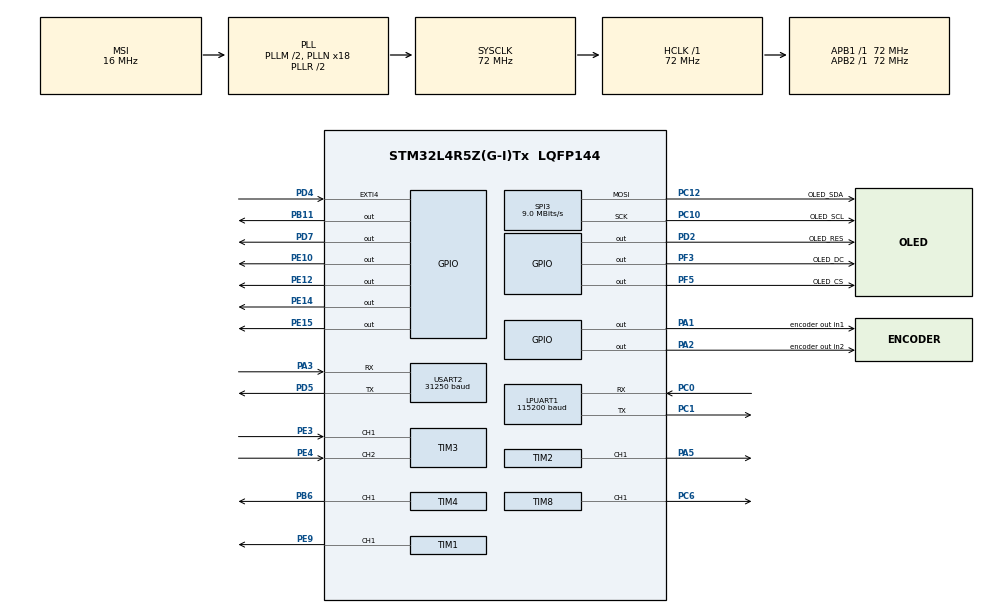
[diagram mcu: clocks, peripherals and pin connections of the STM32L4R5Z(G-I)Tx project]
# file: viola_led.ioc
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Dma.Request0=TIM1_CH1
Dma.TIM1_CH1.0.Direction=DMA_MEMORY_TO_PERIPH
Dma.TIM1_CH1.0.EventEnable=DISABLE
Dma.TIM1_CH1.0.Instance=DMA1_Channel1
Dma.TIM1_CH1.0.MemDataAlignment=DMA_MDATAALIGN_HALFWORD
Dma.TIM1_CH1.0.MemInc=DMA_MINC_ENABLE
Dma.TIM1_CH1.0.Mode=DMA_NORMAL
Dma.TIM1_CH1.0.PeriphDataAlignment=DMA_PDATAALIGN_HALFWORD
Dma.TIM1_CH1.0.PeriphInc=DMA_PINC_DISABLE
Dma.TIM1_CH1.0.Polarity=HAL_DMAMUX_REQUEST_GEN_RISING
Dma.TIM1_CH1.0.Priority=DMA_PRIORITY_LOW
Dma.TIM1_CH1.0.RequestNumber=1
Dma.TIM1_CH1.0.SignalID=NONE
Dma.TIM1_CH1.0.SyncEnable=DISABLE
Dma.TIM1_CH1.0.SyncPolarity=HAL_DMAMUX_SYNC_NO_EVENT
Dma.TIM1_CH1.0.SyncRequestNumber=1
Dma.TIM1_CH1.0.SyncSignalID=NONE
LPUART1.BaudRate=115200
LPUART1.WordLength=UART_WORDLENGTH_8B
Mcu.Family=STM32L4
Mcu.Name=STM32L4R5Z(G-I)Tx
Mcu.Package=LQFP144
NVIC.DMA1_Channel1_IRQn=true\:0\:0\:false\:false\:true\:false\:true\:true
NVIC.EXTI4_IRQn=true\:0\:0\:false\:false\:true\:true\:true\:true
NVIC.PriorityGroup=NVIC_PRIORITYGROUP_4
NVIC.TIM1_UP_TIM16_IRQn=true\:0\:0\:false\:false\:true\:true\:true\:true
NVIC.TIM3_IRQn=true\:0\:0\:false\:false\:true\:true\:true\:true
NVIC.TIM4_IRQn=true\:0\:0\:false\:false\:true\:true\:true\:true
NVIC.TIM8_UP_IRQn=true\:0\:0\:false\:false\:true\:true\:true\:true
NVIC.USART2_IRQn=true\:0\:0\:false\:false\:true\:true\:true\:true
PA1.GPIO_Label=encoder out in1
PA1.Signal=GPIO_Output
PA2.GPIO_Label=encoder out in2
PA2.Signal=GPIO_Output
PA3.Mode=Asynchronous
PA3.Signal=USART2_RX
PA5.Signal=S_TIM2_CH1
PB11.Signal=GPIO_Output
PB6.Signal=S_TIM4_CH1
PC0.Mode=Asynchronous
PC0.Signal=LPUART1_RX
PC1.Mode=Asynchronous
PC1.Signal=LPUART1_TX
PC10.GPIO_Label=OLED_SCL
PC10.Mode=TX_Only_Simplex_Unidirect_Master
PC10.Signal=SPI3_SCK
PC12.GPIO_Label=OLED_SDA
PC12.Mode=TX_Only_Simplex_Unidirect_Master
PC12.Signal=SPI3_MOSI
PC6.Signal=S_TIM8_CH1
PD2.GPIO_Label=OLED_RES
PD2.Signal=GPIO_Output
PD4.Signal=GPXTI4
PD5.Mode=Asynchronous
PD5.Signal=USART2_TX
PD7.Signal=GPIO_Output
PE10.Signal=GPIO_Output
PE12.Signal=GPIO_Output
PE14.Signal=GPIO_Output
PE15.Signal=GPIO_Output
PE3.Signal=S_TIM3_CH1
PE4.Signal=S_TIM3_CH2
PE9.Signal=S_TIM1_CH1
PF3.GPIO_Label=OLED_DC
PF3.Signal=GPIO_Output
PF5.GPIO_Label=OLED_CS
PF5.Signal=GPIO_Output
PH0-OSC_IN\ (PH0).Mode=HSE-External-Clock-Source
PH0-OSC_IN\ (PH0).Signal=RCC_OSC_IN
ProjectManager.HeapSize=0x200
ProjectManager.StackSize=0x400
ProjectManager.TargetToolchain=STM32CubeIDE
RCC.ADCFreq_Value=64000000
RCC.AHBFreq_Value=72000000
RCC.APB1Freq_Value=72000000
RCC.APB1TimFreq_Value=72000000
RCC.APB2Freq_Value=72000000
RCC.APB2TimFreq_Value=72000000
RCC.CortexFreq_Value=72000000
RCC.HCLKFreq_Value=72000000
RCC.HSE_VALUE=8000000
RCC.HSI48_VALUE=48000000
RCC.HSI_VALUE=16000000
RCC.LSE_VALUE=32768
RCC.MSIClockRange=RCC_MSIRANGE_8
RCC.MSI_VALUE=16000000
RCC.PLLM1=2
RCC.PLLN=18
RCC.SYSCLKFreq_VALUE=72000000
RCC.SYSCLKSource=RCC_SYSCLKSOURCE_PLLCLK
RCC.USBFreq_Value=64000000
RCC.VCOOutputFreq_Value=144000000
SH.S_TIM1_CH1.0=TIM1_CH1,PWM Generation1 CH1
SH.S_TIM2_CH1.0=TIM2_CH1,PWM Generation1 CH1
SH.S_TIM3_CH1.0=TIM3_CH1,Encoder_Interface
SH.S_TIM3_CH2.0=TIM3_CH2,Encoder_Interface
SH.S_TIM4_CH1.0=TIM4_CH1,PWM Generation1 CH1
SH.S_TIM8_CH1.0=TIM8_CH1,PWM Generation1 CH1
SPI3.BaudRatePrescaler=SPI_BAUDRATEPRESCALER_8
SPI3.CalculateBaudRate=9.0 MBits/s
SPI3.DataSize=SPI_DATASIZE_8BIT
SPI3.Direction=SPI_DIRECTION_2LINES
SPI3.Mode=SPI_MODE_MASTER
SPI3.VirtualType=VM_MASTER
TIM1.Channel-PWM\ Generation1\ CH1=TIM_CHANNEL_1
TIM1.Period=89
TIM1.Prescaler=0
TIM2.Channel-Forced\ Output1\ CH1=TIM_CHANNEL_1
TIM2.Channel-PWM\ Generation1\ CH1=TIM_CHANNEL_1
TIM2.Channel-PWM\ Generation1\ No\ Output=TIM_CHANNEL_1
TIM2.Period=65535
TIM3.EncoderMode=TIM_ENCODERMODE_TI12
TIM3.IC1Filter=5
TIM3.IC2Filter=5
TIM4.Channel-PWM\ Generation1\ CH1=TIM_CHANNEL_1
TIM4.Period=1999
TIM4.Prescaler=71
TIM4.Pulse-PWM\ Generation1\ CH1=999
TIM4.TIM_MasterOutputTrigger=TIM_TRGO_UPDATE
TIM8.Channel-PWM\ Generation1\ CH1=TIM_CHANNEL_1
TIM8.Period=1999
TIM8.Prescaler=71
TIM8.TIM_MasterOutputTrigger=TIM_TRGO_RESET
USART2.BaudRate=31250
USART2.VirtualMode-Asynchronous=VM_ASYNC
VP_TIM1_VS_ClockSourceINT.Mode=Internal
VP_TIM4_VS_ClockSourceINT.Mode=Internal
VP_TIM8_VS_ClockSourceITR.Mode=TriggerSource_ITR2
VP_TIM8_VS_ControllerModeTrigger.Mode=Trigger Mode
board=custom

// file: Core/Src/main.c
/* USER CODE BEGIN Header */

/**

  ******************************************************************************
  * @file           : main.c
  * @brief          : Main program body
  ******************************************************************************
  * @attention
  *
  * Copyright (c) 2026 STMicroelectronics.
  * All rights reserved.
  *
  * This software is licensed under terms that can be found in the LICENSE file
  * in the root directory of this software component.
  * If no LICENSE file comes with this software, it is provided AS-IS.
  *
  ******************************************************************************

  */

/* USER CODE END Header */
#include "main.h"

/* USER CODE BEGIN Includes */
#include <math.h>
#include <stdbool.h>
#include <stdio.h>
#include <stdlib.h>

/* USER CODE END Includes */

UART_HandleTypeDef hlpuart1;
UART_HandleTypeDef huart2;

SPI_HandleTypeDef hspi3;

TIM_HandleTypeDef htim1;
TIM_HandleTypeDef htim2;
TIM_HandleTypeDef htim3;
TIM_HandleTypeDef htim4;
TIM_HandleTypeDef htim8;
DMA_HandleTypeDef hdma_tim1_ch1;

/* USER CODE BEGIN PV */

//encoder vars
int encoder_initialized = 0;
#define ENCODER_CPR 17500.0f // encoder counts per rotation (update)
volatile int encoder_target_count = -1;  // -1 = no target active
volatile uint8_t encoder_moving = 0;
#define ENCODER_DEADBAND 60  // stop within +/-60 counts (approx 1.2deg at 17500 CPR)

//stepper vars
#define STEPPER_STEPS 280
static uint8_t stepper_direction = 0; // 0 or 2
static int stepper_step_count = 0; //curr step count

/* USER CODE END PV */

void SystemClock_Config(void);
static void MX_GPIO_Init(void);
static void MX_DMA_Init(void);
static void MX_TIM1_Init(void);
static void MX_SPI3_Init(void);
static void MX_USART2_UART_Init(void);
static void MX_TIM2_Init(void);
static void MX_TIM4_Init(void);
static void MX_LPUART1_UART_Init(void);
static void MX_TIM3_Init(void);
static void MX_TIM8_Init(void);

/* USER CODE BEGIN 0 */

///////////////////////////////////////////////CUSTOM CALLBACKS////////////////////////////////////////////////////

void HAL_TIM_IC_CaptureCallback(TIM_HandleTypeDef *htim) {
    if (htim->Instance == TIM3 && encoder_moving) {
        int32_t current = TIM3->CNT;
        int32_t error = encoder_target_count - current;

        if (abs(error) <= ENCODER_DEADBAND) {
            //stop motor
            HAL_GPIO_WritePin(encoder_out_in1_GPIO_Port, encoder_out_in1_Pin, GPIO_PIN_RESET);
            HAL_GPIO_WritePin(encoder_out_in2_GPIO_Port, encoder_out_in2_Pin, GPIO_PIN_RESET);
            encoder_moving = 0;
            encoder_target_count = -1;
        }
    }
}

void HAL_TIM_PeriodElapsedCallback(TIM_HandleTypeDef *htim) {
	if (htim->Instance == TIM8) {
		stepper_step_count++;
		if (stepper_step_count >= STEPPER_STEPS) {
			stepper_step_count = 0;
			stepper_direction = !stepper_direction;
			HAL_GPIO_WritePin(GPIOD, GPIO_PIN_7, stepper_direction);
		}
	}
}

/////////////////////////////////////////////////////////////////////////////////////////////////////////

////////////////////////////////////////////////////////ENCODER CODE/////////////////////////////////////

void Encoder_Init(void) {
    HAL_TIM_PWM_Start(&htim2, TIM_CHANNEL_1);
    __HAL_TIM_SET_COMPARE(&htim2, TIM_CHANNEL_1, (1)*65535); //CALIBRATION: (0.5)*65536 is a good value to make it spin slower
    HAL_TIM_Encoder_Start_IT(&htim3, TIM_CHANNEL_ALL);

    //CHECK: BOTH SHOULD BE RESET BEFORE STARTING PROGRAM
    HAL_GPIO_WritePin(encoder_out_in1_GPIO_Port, encoder_out_in1_Pin, GPIO_PIN_RESET); //CALIBRATION: setting this to GPIO_PIN_SET makes it turn clockwise
    HAL_GPIO_WritePin(encoder_out_in2_GPIO_Port, encoder_out_in2_Pin, GPIO_PIN_RESET); //CALIBRATION: setting this to GPIO_PIN_SET makes it turn counterclockwise
}

void Encoder_Reset(uint8_t midi_note1) {
    float target_angle = 0;
    switch(midi_note1) {
		case 48: case 50: case 51: case 52: case 53: // C
			target_angle = 150.0f;
			break;
		case 55: case 57: case 58: case 59: case 60: // G
			target_angle = 126.0f;
			break;
		case 62: case 64: case 65: case 66: case 67: // D
			target_angle = 105.0f;
			break;
		case 69: case 71: case 72: case 73: case 74: // A
			target_angle = 102.5f;
			break;
        default:
            return;
    }
    int32_t target_count = (int32_t)((target_angle / 360.0f) * ENCODER_CPR);
    __HAL_TIM_SET_COUNTER(&htim3, target_count);
    encoder_initialized = 1;
}

void Encoder_Activate(uint8_t midi_note1) {
    float target_angle = 0;
    switch(midi_note1) {
		case 48: case 50: case 51: case 52: case 53: // C
			target_angle = 150.0f;
			break;
		case 55: case 57: case 58: case 59: case 60: // G
			target_angle = 126.0f;
			break;
		case 62: case 64: case 65: case 66: case 67: // D
			target_angle = 105.0f;
			break;
		case 69: case 71: case 72: case 73: case 74: // A
			target_angle = 102.5f;
			break;
        default:
            return;
    }

    int32_t target_count = (int32_t)((target_angle / 360.0f) * ENCODER_CPR);
    int32_t current_count = TIM3->CNT;
    int32_t error = target_count - current_count;

    // Already at position
    if (abs(error) <= ENCODER_DEADBAND) {
        encoder_moving = 0;
        encoder_target_count = -1;
        HAL_GPIO_WritePin(encoder_out_in1_GPIO_Port, encoder_out_in1_Pin, GPIO_PIN_RESET);
        HAL_GPIO_WritePin(encoder_out_in2_GPIO_Port, encoder_out_in2_Pin, GPIO_PIN_RESET);
        return;
    }

    encoder_target_count = target_count;
    encoder_moving = 1;

    //the direction is based on error
    if (error > 0) {
        // Direction A
        HAL_GPIO_WritePin(encoder_out_in1_GPIO_Port, encoder_out_in1_Pin, GPIO_PIN_RESET);
        HAL_GPIO_WritePin(encoder_out_in2_GPIO_Port, encoder_out_in2_Pin, GPIO_PIN_SET);
    } else {
        // Direction B
        HAL_GPIO_WritePin(encoder_out_in1_GPIO_Port, encoder_out_in1_Pin, GPIO_PIN_SET);
        HAL_GPIO_WritePin(encoder_out_in2_GPIO_Port, encoder_out_in2_Pin, GPIO_PIN_RESET);
    }
}

/////////////////////////////////////////////////////////////////////////////////////////////////////////

////////////////////////////////////////////////////////STEPPER / SOLENOID LOGIC/////////////////////////////////////

// GPIO PE15
void actuatePair1(void){ //notes D3, A3, E4, B4
	HAL_GPIO_WritePin(GPIOE, GPIO_PIN_15, GPIO_PIN_SET);
	HAL_Delay(500);	//500 ms
	HAL_GPIO_WritePin(GPIOE, GPIO_PIN_15, GPIO_PIN_RESET);
	HAL_Delay(500);	//500 ms
}

// GPIO PE14
void actuatePair2(void){ //notes Eb3, Bb3, F4, C5
	HAL_GPIO_WritePin(GPIOE, GPIO_PIN_14, GPIO_PIN_SET);
	HAL_Delay(500);	//500 ms
	HAL_GPIO_WritePin(GPIOE, GPIO_PIN_14, GPIO_PIN_RESET);
	HAL_Delay(500);	//500 ms
}

// GPIO PE12
void actuatePair3(void){ //notes E3, B3, F#4, C#5
	HAL_GPIO_WritePin(GPIOE, GPIO_PIN_12, GPIO_PIN_SET);
	HAL_Delay(500);	//500 ms
	HAL_GPIO_WritePin(GPIOE, GPIO_PIN_12, GPIO_PIN_RESET);
	HAL_Delay(500);	//500 ms
}

// GPIO PE10
void actuatePair4(void) { //notes F3, C4, G4, D5
	HAL_GPIO_WritePin(GPIOE, GPIO_PIN_10, GPIO_PIN_SET);
	HAL_Delay(500);	//500 ms
	HAL_GPIO_WritePin(GPIOE, GPIO_PIN_10, GPIO_PIN_RESET);
	HAL_Delay(500);	//500 ms
}

// initialize all solenoids to rest state
void Solenoid_init(void) { // notes C3, G3, D4, A4 (open string, no solenoids activated)
	HAL_GPIO_WritePin(GPIOE, GPIO_PIN_15, GPIO_PIN_RESET);
	HAL_GPIO_WritePin(GPIOE, GPIO_PIN_14, GPIO_PIN_RESET);
	HAL_GPIO_WritePin(GPIOE, GPIO_PIN_12, GPIO_PIN_RESET);
	HAL_GPIO_WritePin(GPIOE, GPIO_PIN_10, GPIO_PIN_RESET);
}

void stepper_init(void){
	  HAL_TIM_PWM_Start(&htim4, TIM_CHANNEL_1);
	  HAL_TIM_PWM_Start(&htim8, TIM_CHANNEL_1);
	  HAL_TIM_Base_Start_IT(&htim8);
	  HAL_GPIO_WritePin(GPIOB, GPIO_PIN_11, GPIO_PIN_RESET);
}

void start_stepper(void){
//	stepper_step_count = 0;
//	stepper_direction = 0;
//	HAL_GPIO_WritePin(GPIOD, GPIO_PIN_7, stepper_direction);
	HAL_GPIO_WritePin(GPIOD, GPIO_PIN_7, stepper_direction);
	stepper_direction = !stepper_direction;
}

void stop_stepper(void){
	HAL_TIM_PWM_Stop(&htim4, TIM_CHANNEL_1);
	HAL_TIM_PWM_Stop(&htim8, TIM_CHANNEL_1);
	HAL_GPIO_WritePin(GPIOB, GPIO_PIN_11, GPIO_PIN_SET);
}

void Solenoid_Activate(uint8_t midi_note) {
    Solenoid_init();

    switch(midi_note) {
        case 50: case 57: case 64: case 71:
            HAL_GPIO_WritePin(GPIOE, GPIO_PIN_15, GPIO_PIN_SET); //c
            break;
        case 51: case 58: case 65: case 72:
            HAL_GPIO_WritePin(GPIOE, GPIO_PIN_14, GPIO_PIN_SET); //g
            break;
        case 52: case 59: case 66: case 73:
            HAL_GPIO_WritePin(GPIOE, GPIO_PIN_12, GPIO_PIN_SET); //d
            break;
        case 53: case 60: case 67: case 74:
            HAL_GPIO_WritePin(GPIOE, GPIO_PIN_10, GPIO_PIN_SET); //a
            break;
        default:
            break;
    }

}

 ///////////////////////////////////////////////////////////////////////////////////////////////////////

/////////////////LED CODE///////////////////////////////////////////////////////////////////////////////

#define MAX_LED 20
#define USE_BRIGHTNESS 1

uint8_t LED_Data[MAX_LED][4];
uint8_t LED_Mod[MAX_LED][4];
int datasentflag = 0;

void HAL_TIM_PWM_PulseFinishedCallback(TIM_HandleTypeDef *htim) {
	HAL_TIM_PWM_Stop_DMA(&htim1, TIM_CHANNEL_1);
	datasentflag = 1;
}

void Set_LED(int LED_num, int Red, int Green, int Blue) {
	LED_Data[LED_num][0] = LED_num;
	LED_Data[LED_num][1] = Green;
	LED_Data[LED_num][2] = Red;
	LED_Data[LED_num][3] = Blue;
}

#define PI 3.14159265
void Set_Brightness (int brightness) {
#if USE_BRIGHTNESS
	if (brightness > 45) {
		brightness = 45;
	}
	for (int i = 0; i < MAX_LED; i++) {
		LED_Mod[i][0] = LED_Data[i][0];
		for (int j = 1; j < 4; j++) {
			float angle = 90 - brightness;
			angle = angle * PI / 180;
			LED_Mod[i][j] = (LED_Data[i][j]) / (tan(angle));
		}
	}
#endif
}

uint16_t pwmData[(24 * MAX_LED) + 50];

void WS2812_Send (void) {
	uint32_t idx = 0;
	uint32_t color;
	for (int i= 0; i < MAX_LED; i++) {
#if USE_BRIGHTNESS
		color = ((LED_Mod[i][1] << 16) | (LED_Mod[i][2] << 8) | (LED_Mod[i][3]));
#else
		color = ((LED_Data[i][1] << 16) | (LED_Data[i][2] << 8) | (LED_Data[i][3]));
#endif
		for (int i = 23; i >= 0; i--) {
			if (color&(1 << i)) {
				pwmData[idx] = 60;  // 2/3 of 90
			} else {
				pwmData[idx] = 30;  // 1/3 of 90
			}
			idx++;
		}
	}
	for (int i = 0; i < 50; i++) {
		pwmData[idx] = 0;
		idx++;
	}
	HAL_TIM_PWM_Start_DMA(&htim1, TIM_CHANNEL_1, (uint32_t *)pwmData, idx);

	while (!datasentflag) {

	};
	datasentflag = 0;
}

void Note_On(int note) {
	for (int i = 0; i < MAX_LED; i++) {
		if (i == note) {
			LED_Mod[i][1] = LED_Data[i][1];
            LED_Mod[i][2] = LED_Data[i][2];
            LED_Mod[i][3] = LED_Data[i][3];
        } else {
            LED_Mod[i][1] = 0;
            LED_Mod[i][2] = 0;
            LED_Mod[i][3] = 0;
        }
    }
    WS2812_Send();
}

void Notes_Off(void) {
    for (int i = 0; i < MAX_LED; i++) {
        LED_Mod[i][1] = 0;
        LED_Mod[i][2] = 0;
        LED_Mod[i][3] = 0;
    }
    WS2812_Send();
}

///////////////////////////////////////////////////////////////////////////////////////////////////

//////////////////////////////////////////SPI DISPLAY CODE/////////////////////////////////////////
#define OLED_CS_LOW()   HAL_GPIO_WritePin(OLED_CS_GPIO_Port, OLED_CS_Pin, GPIO_PIN_RESET)
#define OLED_CS_HIGH()  HAL_GPIO_WritePin(OLED_CS_GPIO_Port, OLED_CS_Pin, GPIO_PIN_SET)
#define OLED_DC_LOW()   HAL_GPIO_WritePin(OLED_DC_GPIO_Port, OLED_DC_Pin, GPIO_PIN_RESET)
#define OLED_DC_HIGH()  HAL_GPIO_WritePin(OLED_DC_GPIO_Port, OLED_DC_Pin, GPIO_PIN_SET)
#define OLED_RES_LOW()  HAL_GPIO_WritePin(OLED_RES_GPIO_Port, OLED_RES_Pin, GPIO_PIN_RESET)
#define OLED_RES_HIGH() HAL_GPIO_WritePin(OLED_RES_GPIO_Port, OLED_RES_Pin, GPIO_PIN_SET)

extern SPI_HandleTypeDef hspi3;

void SSD1306_Command(uint8_t cmd) {
    OLED_DC_LOW();
    OLED_CS_LOW();
    HAL_SPI_Transmit(&hspi3, &cmd, 1, 100);
    OLED_CS_HIGH();
}

void SSD1306_Data(uint8_t *data, uint16_t len) {
    OLED_DC_HIGH();
    OLED_CS_LOW();
    HAL_SPI_Transmit(&hspi3, data, len, 100);
    OLED_CS_HIGH();
}

void SSD1306_Reset(void) {
    OLED_RES_HIGH();
    HAL_Delay(10);
    OLED_RES_LOW();
    HAL_Delay(10);
    OLED_RES_HIGH();
    HAL_Delay(10);
}

void SSD1306_Init(void) {
    SSD1306_Reset();
    HAL_Delay(100);
    SSD1306_Command(0xAE);
    SSD1306_Command(0xD5);
    SSD1306_Command(0x80);
    SSD1306_Command(0xA8);
    SSD1306_Command(0x3F);
    SSD1306_Command(0xD3);
    SSD1306_Command(0x00);
    SSD1306_Command(0x40);
    SSD1306_Command(0x8D);
    SSD1306_Command(0x14);
    SSD1306_Command(0x20);
    SSD1306_Command(0x00);
    SSD1306_Command(0xA1);
    SSD1306_Command(0xC8);
    SSD1306_Command(0xDA);
    SSD1306_Command(0x12);
    SSD1306_Command(0x81);
    SSD1306_Command(0xCF);
    SSD1306_Command(0xD9);
    SSD1306_Command(0xF1);
    SSD1306_Command(0xDB);
    SSD1306_Command(0x40);
    SSD1306_Command(0xA4);
    SSD1306_Command(0xA6);
    SSD1306_Command(0xAF);
}

void SSD1306_Fill(uint8_t pattern) {
    SSD1306_Command(0x21);
    SSD1306_Command(0);
    SSD1306_Command(127);
    SSD1306_Command(0x22);
    SSD1306_Command(0);
    SSD1306_Command(7);
    uint8_t buf[128];
    for (int i = 0; i < 128; i++) buf[i] = pattern;
    for (int page = 0; page < 8; page++) {
        SSD1306_Data(buf, 128);
    }
}

/////////////////////////////////////////////////////////////////////////////////////////////////////

////////////////////////////////MIDI CODE////////////////////////////////////////////////////////////

//MIDI note-to-LED mapping table
//index = LED index (0 = highest, 19 = lowest)
//value = MIDI note number
const uint8_t midi_note_map[20] = {
    48, 50, 51, 52, 53, 55, 57, 58, 59, 60,
    62, 64, 65, 66, 67, 69, 71, 72, 73, 74
};

//note name strings for the display
const char* note_names[20] = {
    "C3", "D3", "Eb3", "E3", "F3",
    "G3", "A3", "Bb3", "B3", "C4",
    "D4", "E4", "F4", "F#4", "G4",
    "A4", "B4", "C5", "C#5", "D5"
};

//MIDI state machine
volatile uint8_t midi_rx_byte;
volatile uint8_t midi_state = 0; // 0 = waiting for status, 1 = got status, 2 = got note
volatile uint8_t midi_status = 0;
volatile uint8_t midi_note = 0;
volatile uint8_t midi_velocity = 0;
volatile int8_t  midi_led_index = -1; // -1 = no note active
volatile uint8_t midi_new_event = 0; // flag for main loop

//convert MIDI note number to LED index, returns -1 if not mapped
int8_t MIDI_NoteToLED(uint8_t note) {
    for (int i = 0; i < 20; i++) {
        if (midi_note_map[i] == note) return i;
    }
    return -1;
}

//UART receive callback is called every time a byte arrives
void HAL_UART_RxCpltCallback(UART_HandleTypeDef *huart) {
    if (huart->Instance == USART2) {
        uint8_t byte = midi_rx_byte;
        if (byte & 0x80) {
            // Status byte
            if ((byte & 0xF0) == 0x90 || (byte & 0xF0) == 0x80) {
                midi_status = byte & 0xF0;
                midi_state = 1;
            } else {
                midi_state = 0;  //ignore other messages
            }
        } else {
            // Data byte
            if (midi_state == 1) {
                midi_note = byte;
                midi_state = 2;
            } else if (midi_state == 2) {
                midi_velocity = byte;
                midi_state = 1;  //running status, ready for next note
                //process message
                if (midi_status == 0x90 && midi_velocity > 0) {
                    //Note ON
                    midi_led_index = MIDI_NoteToLED(midi_note);
                } else {
                    //Note OFF (0x80 or 0x90 with velocity =0)
                    int8_t idx = MIDI_NoteToLED(midi_note);
                    if (idx == midi_led_index) {
                        midi_led_index = -1;
                    }
                }
                midi_new_event = 1;
            }
        }
        //reset for the next byte
        HAL_UART_Receive_IT(&huart2, (uint8_t*)&midi_rx_byte, 1);
    }
}

//////////////////////////////////////////////////////////////////////////////////////////////////////////////////////

//////////////////////////////////////////////////TEXT RENDERING//////////////////////////////////////////////////////

// 5x7 font data, each character is 5 columns of 7 bits
const uint8_t font5x7[][5] = {
    {0x00,0x00,0x00,0x00,0x00}, // space
    {0x7C,0x12,0x11,0x12,0x7C}, // A
    {0x7F,0x49,0x49,0x49,0x36}, // B
    {0x3E,0x41,0x41,0x41,0x22}, // C
    {0x7F,0x41,0x41,0x22,0x1C}, // D
    {0x7F,0x49,0x49,0x49,0x41}, // E
    {0x7F,0x09,0x09,0x09,0x01}, // F
    {0x3E,0x41,0x49,0x49,0x7A}, // G
    {0x36,0x49,0x49,0x49,0x36}, // 0
    {0x00,0x42,0x7F,0x40,0x00}, // 1
    {0x42,0x61,0x51,0x49,0x46}, // 2
    {0x21,0x41,0x45,0x4B,0x31}, // 3
    {0x18,0x14,0x12,0x7F,0x10}, // 4
    {0x27,0x45,0x45,0x45,0x39}, // 5
    {0x24,0x7E,0x24,0x7E,0x24}, // sharp symbol
    {0x7F,0x44,0x44,0x44,0x38}, // flat symbol (lowercase b)
};

// converts a character to its font table index
uint8_t char_to_font(char c) {
    switch(c) {
        case ' ': return 0;
        case 'A': return 1;
        case 'B': return 2;
        case 'C': return 3;
        case 'D': return 4;
        case 'E': return 5;
        case 'F': return 6;
        case 'G': return 7;
        case '0': return 8;
        case '1': return 9;
        case '2': return 10;
        case '3': return 11;
        case '4': return 12;
        case '5': return 13;
        case '#': return 14;
        case 'b': return 15;
        default:  return 0;
    }
}

// draws one character scaled up to fill the screen
// for a 2 char string like "D5" each char gets about 60px wide (scale 12x horizontal, 9x vertical)
// for a 3 char string like "C#5" each char gets about 38px wide (scale 7x horizontal, 9x vertical)
// this way the text always fills as much of the 128x64 display as possible
void SSD1306_DrawCharScaled(uint8_t x, uint8_t char_width, uint8_t hscale, char c) {
    uint8_t idx = char_to_font(c);
    const uint8_t *glyph = font5x7[idx];
    // we use all 8 pages (64 pixels tall), scale factor vertically is 64/7 = ~9

    for (uint8_t page = 0; page < 8; page++) {
        uint8_t col_data[128]; // max possible width
        uint8_t col_idx = 0;

        for (uint8_t col = 0; col < 5; col++) {
            uint8_t src = glyph[col];
            uint8_t page_byte = 0;

            // figure out which original row each bit in this page maps to
            for (uint8_t bit = 0; bit < 8; bit++) {
                uint8_t scaled_row = (page * 8) + bit;
                // 64 pixels / 7 rows = 9.14 pixels per row, use *7/64 to map back
                uint8_t orig_row = (scaled_row * 7) / 64;
                if (orig_row < 7 && (src & (1 << orig_row))) {
                    page_byte |= (1 << bit);
                }
            }

            // repeat the column hscale times for horizontal scaling
            for (uint8_t s = 0; s < hscale && col_idx < char_width; s++) {
                col_data[col_idx++] = page_byte;
            }
        }
        SSD1306_Command(0x21);
        SSD1306_Command(x);
        SSD1306_Command(x + char_width - 1);
        SSD1306_Command(0x22);
        SSD1306_Command(page);
        SSD1306_Command(page);
        SSD1306_Data(col_data, char_width);
    }
}

// shows a note name as big as possible on the screen
// calculates the best scale based on how many characters we need to fit
void SSD1306_ShowNote(const char* name) {
    SSD1306_Fill(0x00);
    // count how many characters
    uint8_t len = 0;
    const char* p = name;
    while (*p++) len++;
    if (len == 0) return;

    // gap between characters is 2 pixels
    uint8_t gap = 2;

    // available width for actual characters (subtract gaps between them)
    uint8_t avail = 128 - ((len - 1) * gap);

    // width per character
    uint8_t char_width = avail / len;

    // horizontal scale factor (each original char is 5 cols wide)
    uint8_t hscale = char_width / 5;

    // recalc char_width to be exact multiple of 5
    char_width = hscale * 5;

    // center everything on screen
    uint8_t total_width = (len * char_width) + ((len - 1) * gap);
    uint8_t x_start = (128 - total_width) / 2;

    for (uint8_t i = 0; i < len; i++) {
        SSD1306_DrawCharScaled(x_start + (i * (char_width + gap)), char_width, hscale, name[i]);
    }
}

// clears the display when no note is playing
void SSD1306_ShowEmpty(void) {
    SSD1306_Fill(0x00);
}

////////////////////////////////////////////////////////////////////////////////////////////////

/* USER CODE END 0 */

int main(void)
{

  /* MCU Configuration--------------------------------------------------------*/

  /* Reset of all peripherals, Initializes the Flash interface and the Systick. */
  HAL_Init();

  /* Configure the system clock */
  SystemClock_Config();

  /* Initialize all configured peripherals */
  MX_GPIO_Init();
  MX_DMA_Init();
  MX_TIM1_Init();
  MX_SPI3_Init();
  MX_USART2_UART_Init();
  MX_TIM2_Init();
  MX_TIM4_Init();
  MX_LPUART1_UART_Init();
  MX_TIM3_Init();
  MX_TIM8_Init();
  /* USER CODE BEGIN 2 */

  //evenly spaced rainbow
  Set_LED(0, 255, 0, 0); //red
  Set_LED(1, 255, 20, 0);
  Set_LED(2, 255, 40, 0);
  Set_LED(3, 255, 64, 0);
  Set_LED(4, 255, 128, 0);
  Set_LED(5, 255, 191, 0);
  Set_LED(6, 255, 255, 0);
  Set_LED(7, 191, 255, 0);
  Set_LED(8, 128, 255, 0);
  Set_LED(9, 0, 255, 0);
  Set_LED(10, 0, 255, 128);
  Set_LED(11, 0, 255, 255);
  Set_LED(12, 0, 191, 255);
  Set_LED(13, 0, 128, 255);
  Set_LED(14, 0, 64, 255);
  Set_LED(15, 0, 0, 255);
  Set_LED(16, 64, 0, 255);
  Set_LED(17, 128, 0, 255);
  Set_LED(18, 192, 0, 255);
  Set_LED(19, 255, 0, 255); //deepest purple
  SSD1306_Init();
  SSD1306_Fill(0x00);
  Notes_Off();

  //initializing the hardware
  Solenoid_init();
  Encoder_Init();
  int counterValue = 0;
  float angleValue = 0;

  //quick test to verify lights, display work for debugging
  //  Note_On(0);
  //  SSD1306_ShowNote("D5");
  //  HAL_Delay(2000);
  //  Notes_Off();
  //  SSD1306_ShowEmpty();

  //start listening for MIDI

  HAL_UART_Receive_IT(&huart2, (uint8_t*)&midi_rx_byte, 1);

  /* USER CODE END 2 */

  /* Infinite loop */
  /* USER CODE BEGIN WHILE */

  while (1)

  {
	  // test for printing current encoder value to arduino
//	  counterValue = TIM3->CNT;
//	  angleValue = (360.0/ENCODER_CPR)*((float)counterValue);
//	  printf("Current angle is: %f\n\r", angleValue);

      if (midi_new_event) {
          midi_new_event = 0;
          if(!encoder_initialized) { //first note tells keyboard what note encoder is on
        	  Encoder_Reset(midi_note);
		  }
          else {
			  int8_t idx = midi_led_index;
			  if (idx >= 0 && idx < 20) {
				  Note_On(idx);
				  SSD1306_ShowNote(note_names[idx]);
				  Solenoid_Activate(midi_note); //activate the solenoids for the note
				  Encoder_Activate(midi_note);
				  stepper_init();
				  start_stepper();
			  } else {
				  Notes_Off();
				  SSD1306_ShowEmpty();
				  stop_stepper();
				  Solenoid_init(); //turn off solenoids
			  }
          }
      }

    /* USER CODE END WHILE */

  }
}

void SystemClock_Config(void)
{
  RCC_OscInitTypeDef RCC_OscInitStruct = {0};
  RCC_ClkInitTypeDef RCC_ClkInitStruct = {0};

  /** Configure the main internal regulator output voltage
  */
  if (HAL_PWREx_ControlVoltageScaling(PWR_REGULATOR_VOLTAGE_SCALE1) != HAL_OK)
  {
    Error_Handler();
  }

  /** Initializes the RCC Oscillators according to the specified parameters
  * in the RCC_OscInitTypeDef structure.
  */
  RCC_OscInitStruct.OscillatorType = RCC_OSCILLATORTYPE_MSI;
  RCC_OscInitStruct.MSIState = RCC_MSI_ON;
  RCC_OscInitStruct.MSICalibrationValue = 0;
  RCC_OscInitStruct.MSIClockRange = RCC_MSIRANGE_8;
  RCC_OscInitStruct.PLL.PLLState = RCC_PLL_ON;
  RCC_OscInitStruct.PLL.PLLSource = RCC_PLLSOURCE_MSI;
  RCC_OscInitStruct.PLL.PLLM = 2;
  RCC_OscInitStruct.PLL.PLLN = 18;
  RCC_OscInitStruct.PLL.PLLP = RCC_PLLP_DIV2;
  RCC_OscInitStruct.PLL.PLLQ = RCC_PLLQ_DIV2;
  RCC_OscInitStruct.PLL.PLLR = RCC_PLLR_DIV2;
  if (HAL_RCC_OscConfig(&RCC_OscInitStruct) != HAL_OK)
  {
    Error_Handler();
  }

  /** Initializes the CPU, AHB and APB buses clocks
  */
  RCC_ClkInitStruct.ClockType = RCC_CLOCKTYPE_HCLK|RCC_CLOCKTYPE_SYSCLK
                              |RCC_CLOCKTYPE_PCLK1|RCC_CLOCKTYPE_PCLK2;
  RCC_ClkInitStruct.SYSCLKSource = RCC_SYSCLKSOURCE_PLLCLK;
  RCC_ClkInitStruct.AHBCLKDivider = RCC_SYSCLK_DIV1;
  RCC_ClkInitStruct.APB1CLKDivider = RCC_HCLK_DIV1;
  RCC_ClkInitStruct.APB2CLKDivider = RCC_HCLK_DIV1;

  if (HAL_RCC_ClockConfig(&RCC_ClkInitStruct, FLASH_LATENCY_3) != HAL_OK)
  {
    Error_Handler();
  }
}

static void MX_LPUART1_UART_Init(void)
{

  hlpuart1.Instance = LPUART1;
  hlpuart1.Init.BaudRate = 115200;
  hlpuart1.Init.WordLength = UART_WORDLENGTH_8B;
  hlpuart1.Init.StopBits = UART_STOPBITS_1;
  hlpuart1.Init.Parity = UART_PARITY_NONE;
  hlpuart1.Init.Mode = UART_MODE_TX_RX;
  hlpuart1.Init.HwFlowCtl = UART_HWCONTROL_NONE;
  hlpuart1.Init.OneBitSampling = UART_ONE_BIT_SAMPLE_DISABLE;
  hlpuart1.Init.ClockPrescaler = UART_PRESCALER_DIV1;
  hlpuart1.AdvancedInit.AdvFeatureInit = UART_ADVFEATURE_NO_INIT;
  hlpuart1.FifoMode = UART_FIFOMODE_DISABLE;
  if (HAL_UART_Init(&hlpuart1) != HAL_OK)
  {
    Error_Handler();
  }
  if (HAL_UARTEx_SetTxFifoThreshold(&hlpuart1, UART_TXFIFO_THRESHOLD_1_8) != HAL_OK)
  {
    Error_Handler();
  }
  if (HAL_UARTEx_SetRxFifoThreshold(&hlpuart1, UART_RXFIFO_THRESHOLD_1_8) != HAL_OK)
  {
    Error_Handler();
  }
  if (HAL_UARTEx_DisableFifoMode(&hlpuart1) != HAL_OK)
  {
    Error_Handler();
  }

}

static void MX_USART2_UART_Init(void)
{

  huart2.Instance = USART2;
  huart2.Init.BaudRate = 31250;
  huart2.Init.WordLength = UART_WORDLENGTH_8B;
  huart2.Init.StopBits = UART_STOPBITS_1;
  huart2.Init.Parity = UART_PARITY_NONE;
  huart2.Init.Mode = UART_MODE_TX_RX;
  huart2.Init.HwFlowCtl = UART_HWCONTROL_NONE;
  huart2.Init.OverSampling = UART_OVERSAMPLING_16;
  huart2.Init.OneBitSampling = UART_ONE_BIT_SAMPLE_DISABLE;
  huart2.Init.ClockPrescaler = UART_PRESCALER_DIV1;
  huart2.AdvancedInit.AdvFeatureInit = UART_ADVFEATURE_NO_INIT;
  if (HAL_UART_Init(&huart2) != HAL_OK)
  {
    Error_Handler();
  }
  if (HAL_UARTEx_SetTxFifoThreshold(&huart2, UART_TXFIFO_THRESHOLD_1_8) != HAL_OK)
  {
    Error_Handler();
  }
  if (HAL_UARTEx_SetRxFifoThreshold(&huart2, UART_RXFIFO_THRESHOLD_1_8) != HAL_OK)
  {
    Error_Handler();
  }
  if (HAL_UARTEx_DisableFifoMode(&huart2) != HAL_OK)
  {
    Error_Handler();
  }

}

static void MX_SPI3_Init(void)
{

  /* SPI3 parameter configuration*/
  hspi3.Instance = SPI3;
  hspi3.Init.Mode = SPI_MODE_MASTER;
  hspi3.Init.Direction = SPI_DIRECTION_2LINES;
  hspi3.Init.DataSize = SPI_DATASIZE_8BIT;
  hspi3.Init.CLKPolarity = SPI_POLARITY_LOW;
  hspi3.Init.CLKPhase = SPI_PHASE_1EDGE;
  hspi3.Init.NSS = SPI_NSS_SOFT;
  hspi3.Init.BaudRatePrescaler = SPI_BAUDRATEPRESCALER_8;
  hspi3.Init.FirstBit = SPI_FIRSTBIT_MSB;
  hspi3.Init.TIMode = SPI_TIMODE_DISABLE;
  hspi3.Init.CRCCalculation = SPI_CRCCALCULATION_DISABLE;
  hspi3.Init.CRCPolynomial = 7;
  hspi3.Init.CRCLength = SPI_CRC_LENGTH_DATASIZE;
  hspi3.Init.NSSPMode = SPI_NSS_PULSE_ENABLE;
  if (HAL_SPI_Init(&hspi3) != HAL_OK)
  {
    Error_Handler();
  }

}

static void MX_TIM1_Init(void)
{

  TIM_ClockConfigTypeDef sClockSourceConfig = {0};
  TIM_MasterConfigTypeDef sMasterConfig = {0};
  TIM_OC_InitTypeDef sConfigOC = {0};
  TIM_BreakDeadTimeConfigTypeDef sBreakDeadTimeConfig = {0};

  htim1.Instance = TIM1;
  htim1.Init.Prescaler = 0;
  htim1.Init.CounterMode = TIM_COUNTERMODE_UP;
  htim1.Init.Period = 89;
  htim1.Init.ClockDivision = TIM_CLOCKDIVISION_DIV1;
  htim1.Init.RepetitionCounter = 0;
  htim1.Init.AutoReloadPreload = TIM_AUTORELOAD_PRELOAD_DISABLE;
  if (HAL_TIM_Base_Init(&htim1) != HAL_OK)
  {
    Error_Handler();
  }
  sClockSourceConfig.ClockSource = TIM_CLOCKSOURCE_INTERNAL;
  if (HAL_TIM_ConfigClockSource(&htim1, &sClockSourceConfig) != HAL_OK)
  {
    Error_Handler();
  }
  if (HAL_TIM_PWM_Init(&htim1) != HAL_OK)
  {
    Error_Handler();
  }
  sMasterConfig.MasterOutputTrigger = TIM_TRGO_RESET;
  sMasterConfig.MasterOutputTrigger2 = TIM_TRGO2_RESET;
  sMasterConfig.MasterSlaveMode = TIM_MASTERSLAVEMODE_DISABLE;
  if (HAL_TIMEx_MasterConfigSynchronization(&htim1, &sMasterConfig) != HAL_OK)
  {
    Error_Handler();
  }
  sConfigOC.OCMode = TIM_OCMODE_PWM1;
  sConfigOC.Pulse = 0;
  sConfigOC.OCPolarity = TIM_OCPOLARITY_HIGH;
  sConfigOC.OCNPolarity = TIM_OCNPOLARITY_HIGH;
  sConfigOC.OCFastMode = TIM_OCFAST_DISABLE;
  sConfigOC.OCIdleState = TIM_OCIDLESTATE_RESET;
  sConfigOC.OCNIdleState = TIM_OCNIDLESTATE_RESET;
  if (HAL_TIM_PWM_ConfigChannel(&htim1, &sConfigOC, TIM_CHANNEL_1) != HAL_OK)
  {
    Error_Handler();
  }
  sBreakDeadTimeConfig.OffStateRunMode = TIM_OSSR_DISABLE;
  sBreakDeadTimeConfig.OffStateIDLEMode = TIM_OSSI_DISABLE;
  sBreakDeadTimeConfig.LockLevel = TIM_LOCKLEVEL_OFF;
  sBreakDeadTimeConfig.DeadTime = 0;
  sBreakDeadTimeConfig.BreakState = TIM_BREAK_DISABLE;
  sBreakDeadTimeConfig.BreakPolarity = TIM_BREAKPOLARITY_HIGH;
  sBreakDeadTimeConfig.BreakFilter = 0;
  sBreakDeadTimeConfig.Break2State = TIM_BREAK2_DISABLE;
  sBreakDeadTimeConfig.Break2Polarity = TIM_BREAK2POLARITY_HIGH;
  sBreakDeadTimeConfig.Break2Filter = 0;
  sBreakDeadTimeConfig.AutomaticOutput = TIM_AUTOMATICOUTPUT_DISABLE;
  if (HAL_TIMEx_ConfigBreakDeadTime(&htim1, &sBreakDeadTimeConfig) != HAL_OK)
  {
    Error_Handler();
  }
  HAL_TIM_MspPostInit(&htim1);

}

static void MX_TIM2_Init(void)
{

  TIM_MasterConfigTypeDef sMasterConfig = {0};
  TIM_OC_InitTypeDef sConfigOC = {0};

  htim2.Instance = TIM2;
  htim2.Init.Prescaler = 0;
  htim2.Init.CounterMode = TIM_COUNTERMODE_UP;
  htim2.Init.Period = 65535;
  htim2.Init.ClockDivision = TIM_CLOCKDIVISION_DIV1;
  htim2.Init.AutoReloadPreload = TIM_AUTORELOAD_PRELOAD_DISABLE;
  if (HAL_TIM_PWM_Init(&htim2) != HAL_OK)
  {
    Error_Handler();
  }
  sMasterConfig.MasterOutputTrigger = TIM_TRGO_RESET;
  sMasterConfig.MasterSlaveMode = TIM_MASTERSLAVEMODE_DISABLE;
  if (HAL_TIMEx_MasterConfigSynchronization(&htim2, &sMasterConfig) != HAL_OK)
  {
    Error_Handler();
  }
  sConfigOC.OCMode = TIM_OCMODE_PWM1;
  sConfigOC.Pulse = 0;
  sConfigOC.OCPolarity = TIM_OCPOLARITY_HIGH;
  sConfigOC.OCFastMode = TIM_OCFAST_DISABLE;
  if (HAL_TIM_PWM_ConfigChannel(&htim2, &sConfigOC, TIM_CHANNEL_1) != HAL_OK)
  {
    Error_Handler();
  }
  HAL_TIM_MspPostInit(&htim2);

}

static void MX_TIM3_Init(void)
{

  TIM_Encoder_InitTypeDef sConfig = {0};
  TIM_MasterConfigTypeDef sMasterConfig = {0};

  htim3.Instance = TIM3;
  htim3.Init.Prescaler = 0;
  htim3.Init.CounterMode = TIM_COUNTERMODE_UP;
  htim3.Init.Period = 65535;
  htim3.Init.ClockDivision = TIM_CLOCKDIVISION_DIV1;
  htim3.Init.AutoReloadPreload = TIM_AUTORELOAD_PRELOAD_DISABLE;
  sConfig.EncoderMode = TIM_ENCODERMODE_TI12;
  sConfig.IC1Polarity = TIM_ICPOLARITY_RISING;
  sConfig.IC1Selection = TIM_ICSELECTION_DIRECTTI;
  sConfig.IC1Prescaler = TIM_ICPSC_DIV1;
  sConfig.IC1Filter = 5;
  sConfig.IC2Polarity = TIM_ICPOLARITY_RISING;
  sConfig.IC2Selection = TIM_ICSELECTION_DIRECTTI;
  sConfig.IC2Prescaler = TIM_ICPSC_DIV1;
  sConfig.IC2Filter = 5;
  if (HAL_TIM_Encoder_Init(&htim3, &sConfig) != HAL_OK)
  {
    Error_Handler();
  }
  sMasterConfig.MasterOutputTrigger = TIM_TRGO_RESET;
  sMasterConfig.MasterSlaveMode = TIM_MASTERSLAVEMODE_DISABLE;
  if (HAL_TIMEx_MasterConfigSynchronization(&htim3, &sMasterConfig) != HAL_OK)
  {
    Error_Handler();
  }

}

static void MX_TIM4_Init(void)
{

  TIM_ClockConfigTypeDef sClockSourceConfig = {0};
  TIM_MasterConfigTypeDef sMasterConfig = {0};
  TIM_OC_InitTypeDef sConfigOC = {0};

  htim4.Instance = TIM4;
  htim4.Init.Prescaler = 71;
  htim4.Init.CounterMode = TIM_COUNTERMODE_UP;
  htim4.Init.Period = 1999;
  htim4.Init.ClockDivision = TIM_CLOCKDIVISION_DIV1;
  htim4.Init.AutoReloadPreload = TIM_AUTORELOAD_PRELOAD_DISABLE;
  if (HAL_TIM_Base_Init(&htim4) != HAL_OK)
  {
    Error_Handler();
  }
  sClockSourceConfig.ClockSource = TIM_CLOCKSOURCE_INTERNAL;
  if (HAL_TIM_ConfigClockSource(&htim4, &sClockSourceConfig) != HAL_OK)
  {
    Error_Handler();
  }
  if (HAL_TIM_PWM_Init(&htim4) != HAL_OK)
  {
    Error_Handler();
  }
  sMasterConfig.MasterOutputTrigger = TIM_TRGO_UPDATE;
  sMasterConfig.MasterSlaveMode = TIM_MASTERSLAVEMODE_DISABLE;
  if (HAL_TIMEx_MasterConfigSynchronization(&htim4, &sMasterConfig) != HAL_OK)
  {
    Error_Handler();
  }
  sConfigOC.OCMode = TIM_OCMODE_PWM1;
  sConfigOC.Pulse = 999;
  sConfigOC.OCPolarity = TIM_OCPOLARITY_HIGH;
  sConfigOC.OCFastMode = TIM_OCFAST_DISABLE;
  if (HAL_TIM_PWM_ConfigChannel(&htim4, &sConfigOC, TIM_CHANNEL_1) != HAL_OK)
  {
    Error_Handler();
  }
  HAL_TIM_MspPostInit(&htim4);

}

static void MX_TIM8_Init(void)
{

  TIM_SlaveConfigTypeDef sSlaveConfig = {0};
  TIM_MasterConfigTypeDef sMasterConfig = {0};
  TIM_OC_InitTypeDef sConfigOC = {0};
  TIM_BreakDeadTimeConfigTypeDef sBreakDeadTimeConfig = {0};

  htim8.Instance = TIM8;
  htim8.Init.Prescaler = 71;
  htim8.Init.CounterMode = TIM_COUNTERMODE_UP;
  htim8.Init.Period = 1999;
  htim8.Init.ClockDivision = TIM_CLOCKDIVISION_DIV1;
  htim8.Init.RepetitionCounter = 0;
  htim8.Init.AutoReloadPreload = TIM_AUTORELOAD_PRELOAD_DISABLE;
  if (HAL_TIM_Base_Init(&htim8) != HAL_OK)
  {
    Error_Handler();
  }
  if (HAL_TIM_PWM_Init(&htim8) != HAL_OK)
  {
    Error_Handler();
  }
  sSlaveConfig.SlaveMode = TIM_SLAVEMODE_TRIGGER;
  sSlaveConfig.InputTrigger = TIM_TS_ITR2;
  if (HAL_TIM_SlaveConfigSynchro(&htim8, &sSlaveConfig) != HAL_OK)
  {
    Error_Handler();
  }
  sMasterConfig.MasterOutputTrigger = TIM_TRGO_RESET;
  sMasterConfig.MasterOutputTrigger2 = TIM_TRGO2_RESET;
  sMasterConfig.MasterSlaveMode = TIM_MASTERSLAVEMODE_DISABLE;
  if (HAL_TIMEx_MasterConfigSynchronization(&htim8, &sMasterConfig) != HAL_OK)
  {
    Error_Handler();
  }
  sConfigOC.OCMode = TIM_OCMODE_PWM1;
  sConfigOC.Pulse = 0;
  sConfigOC.OCPolarity = TIM_OCPOLARITY_HIGH;
  sConfigOC.OCNPolarity = TIM_OCNPOLARITY_HIGH;
  sConfigOC.OCFastMode = TIM_OCFAST_DISABLE;
  sConfigOC.OCIdleState = TIM_OCIDLESTATE_RESET;
  sConfigOC.OCNIdleState = TIM_OCNIDLESTATE_RESET;
  if (HAL_TIM_PWM_ConfigChannel(&htim8, &sConfigOC, TIM_CHANNEL_1) != HAL_OK)
  {
    Error_Handler();
  }
  sBreakDeadTimeConfig.OffStateRunMode = TIM_OSSR_DISABLE;
  sBreakDeadTimeConfig.OffStateIDLEMode = TIM_OSSI_DISABLE;
  sBreakDeadTimeConfig.LockLevel = TIM_LOCKLEVEL_OFF;
  sBreakDeadTimeConfig.DeadTime = 0;
  sBreakDeadTimeConfig.BreakState = TIM_BREAK_DISABLE;
  sBreakDeadTimeConfig.BreakPolarity = TIM_BREAKPOLARITY_HIGH;
  sBreakDeadTimeConfig.BreakFilter = 0;
  sBreakDeadTimeConfig.Break2State = TIM_BREAK2_DISABLE;
  sBreakDeadTimeConfig.Break2Polarity = TIM_BREAK2POLARITY_HIGH;
  sBreakDeadTimeConfig.Break2Filter = 0;
  sBreakDeadTimeConfig.AutomaticOutput = TIM_AUTOMATICOUTPUT_DISABLE;
  if (HAL_TIMEx_ConfigBreakDeadTime(&htim8, &sBreakDeadTimeConfig) != HAL_OK)
  {
    Error_Handler();
  }
  HAL_TIM_MspPostInit(&htim8);

}

static void MX_DMA_Init(void)
{

  /* DMA controller clock enable */
  __HAL_RCC_DMAMUX1_CLK_ENABLE();
  __HAL_RCC_DMA1_CLK_ENABLE();

  /* DMA interrupt init */
  /* DMA1_Channel1_IRQn interrupt configuration */
  HAL_NVIC_SetPriority(DMA1_Channel1_IRQn, 0, 0);
  HAL_NVIC_EnableIRQ(DMA1_Channel1_IRQn);

}

static void MX_GPIO_Init(void)
{
  GPIO_InitTypeDef GPIO_InitStruct = {0};

  /* GPIO Ports Clock Enable */
  __HAL_RCC_GPIOE_CLK_ENABLE();
  __HAL_RCC_GPIOF_CLK_ENABLE();
  __HAL_RCC_GPIOH_CLK_ENABLE();
  __HAL_RCC_GPIOC_CLK_ENABLE();
  __HAL_RCC_GPIOA_CLK_ENABLE();
  __HAL_RCC_GPIOB_CLK_ENABLE();
  __HAL_RCC_GPIOD_CLK_ENABLE();

  /*Configure GPIO pin Output Level */
  HAL_GPIO_WritePin(GPIOF, OLED_DC_Pin|OLED_CS_Pin, GPIO_PIN_RESET);

  /*Configure GPIO pin Output Level */
  HAL_GPIO_WritePin(GPIOA, encoder_out_in1_Pin|encoder_out_in2_Pin, GPIO_PIN_RESET);

  /*Configure GPIO pin Output Level */
  HAL_GPIO_WritePin(GPIOE, GPIO_PIN_10|GPIO_PIN_12|GPIO_PIN_14|GPIO_PIN_15, GPIO_PIN_RESET);

  /*Configure GPIO pin Output Level */
  HAL_GPIO_WritePin(GPIOB, GPIO_PIN_11, GPIO_PIN_RESET);

  /*Configure GPIO pin Output Level */
  HAL_GPIO_WritePin(GPIOD, OLED_RES_Pin|GPIO_PIN_7, GPIO_PIN_RESET);

  /*Configure GPIO pins : OLED_DC_Pin OLED_CS_Pin */
  GPIO_InitStruct.Pin = OLED_DC_Pin|OLED_CS_Pin;
  GPIO_InitStruct.Mode = GPIO_MODE_OUTPUT_PP;
  GPIO_InitStruct.Pull = GPIO_NOPULL;
  GPIO_InitStruct.Speed = GPIO_SPEED_FREQ_LOW;
  HAL_GPIO_Init(GPIOF, &GPIO_InitStruct);

  /*Configure GPIO pins : encoder_out_in1_Pin encoder_out_in2_Pin */
  GPIO_InitStruct.Pin = encoder_out_in1_Pin|encoder_out_in2_Pin;
  GPIO_InitStruct.Mode = GPIO_MODE_OUTPUT_PP;
  GPIO_InitStruct.Pull = GPIO_NOPULL;
  GPIO_InitStruct.Speed = GPIO_SPEED_FREQ_LOW;
  HAL_GPIO_Init(GPIOA, &GPIO_InitStruct);

  /*Configure GPIO pins : PE10 PE12 PE14 PE15 */
  GPIO_InitStruct.Pin = GPIO_PIN_10|GPIO_PIN_12|GPIO_PIN_14|GPIO_PIN_15;
  GPIO_InitStruct.Mode = GPIO_MODE_OUTPUT_PP;
  GPIO_InitStruct.Pull = GPIO_NOPULL;
  GPIO_InitStruct.Speed = GPIO_SPEED_FREQ_LOW;
  HAL_GPIO_Init(GPIOE, &GPIO_InitStruct);

  /*Configure GPIO pin : PB11 */
  GPIO_InitStruct.Pin = GPIO_PIN_11;
  GPIO_InitStruct.Mode = GPIO_MODE_OUTPUT_PP;
  GPIO_InitStruct.Pull = GPIO_NOPULL;
  GPIO_InitStruct.Speed = GPIO_SPEED_FREQ_LOW;
  HAL_GPIO_Init(GPIOB, &GPIO_InitStruct);

  /*Configure GPIO pins : OLED_RES_Pin PD7 */
  GPIO_InitStruct.Pin = OLED_RES_Pin|GPIO_PIN_7;
  GPIO_InitStruct.Mode = GPIO_MODE_OUTPUT_PP;
  GPIO_InitStruct.Pull = GPIO_NOPULL;
  GPIO_InitStruct.Speed = GPIO_SPEED_FREQ_LOW;
  HAL_GPIO_Init(GPIOD, &GPIO_InitStruct);

  /*Configure GPIO pin : PD4 */
  GPIO_InitStruct.Pin = GPIO_PIN_4;
  GPIO_InitStruct.Mode = GPIO_MODE_IT_RISING;
  GPIO_InitStruct.Pull = GPIO_NOPULL;
  HAL_GPIO_Init(GPIOD, &GPIO_InitStruct);

  /* EXTI interrupt init*/
  HAL_NVIC_SetPriority(EXTI4_IRQn, 0, 0);
  HAL_NVIC_EnableIRQ(EXTI4_IRQn);

}

/* USER CODE BEGIN 4 */

#ifdef __GNUC__

#define PUTCHAR_PROTOTYPE int __io_putchar(int ch)

#else

  #define PUTCHAR_PROTOTYPE int fputc(int ch, FILE *f)

#endif /* __GNUC__ */

PUTCHAR_PROTOTYPE

{

  HAL_UART_Transmit(&hlpuart1, (uint8_t *)&ch, 1, 0xFFFF);

  return ch;

}

/* USER CODE END 4 */

void Error_Handler(void)
{
  __disable_irq();
  while (1)
  {
  }
}
